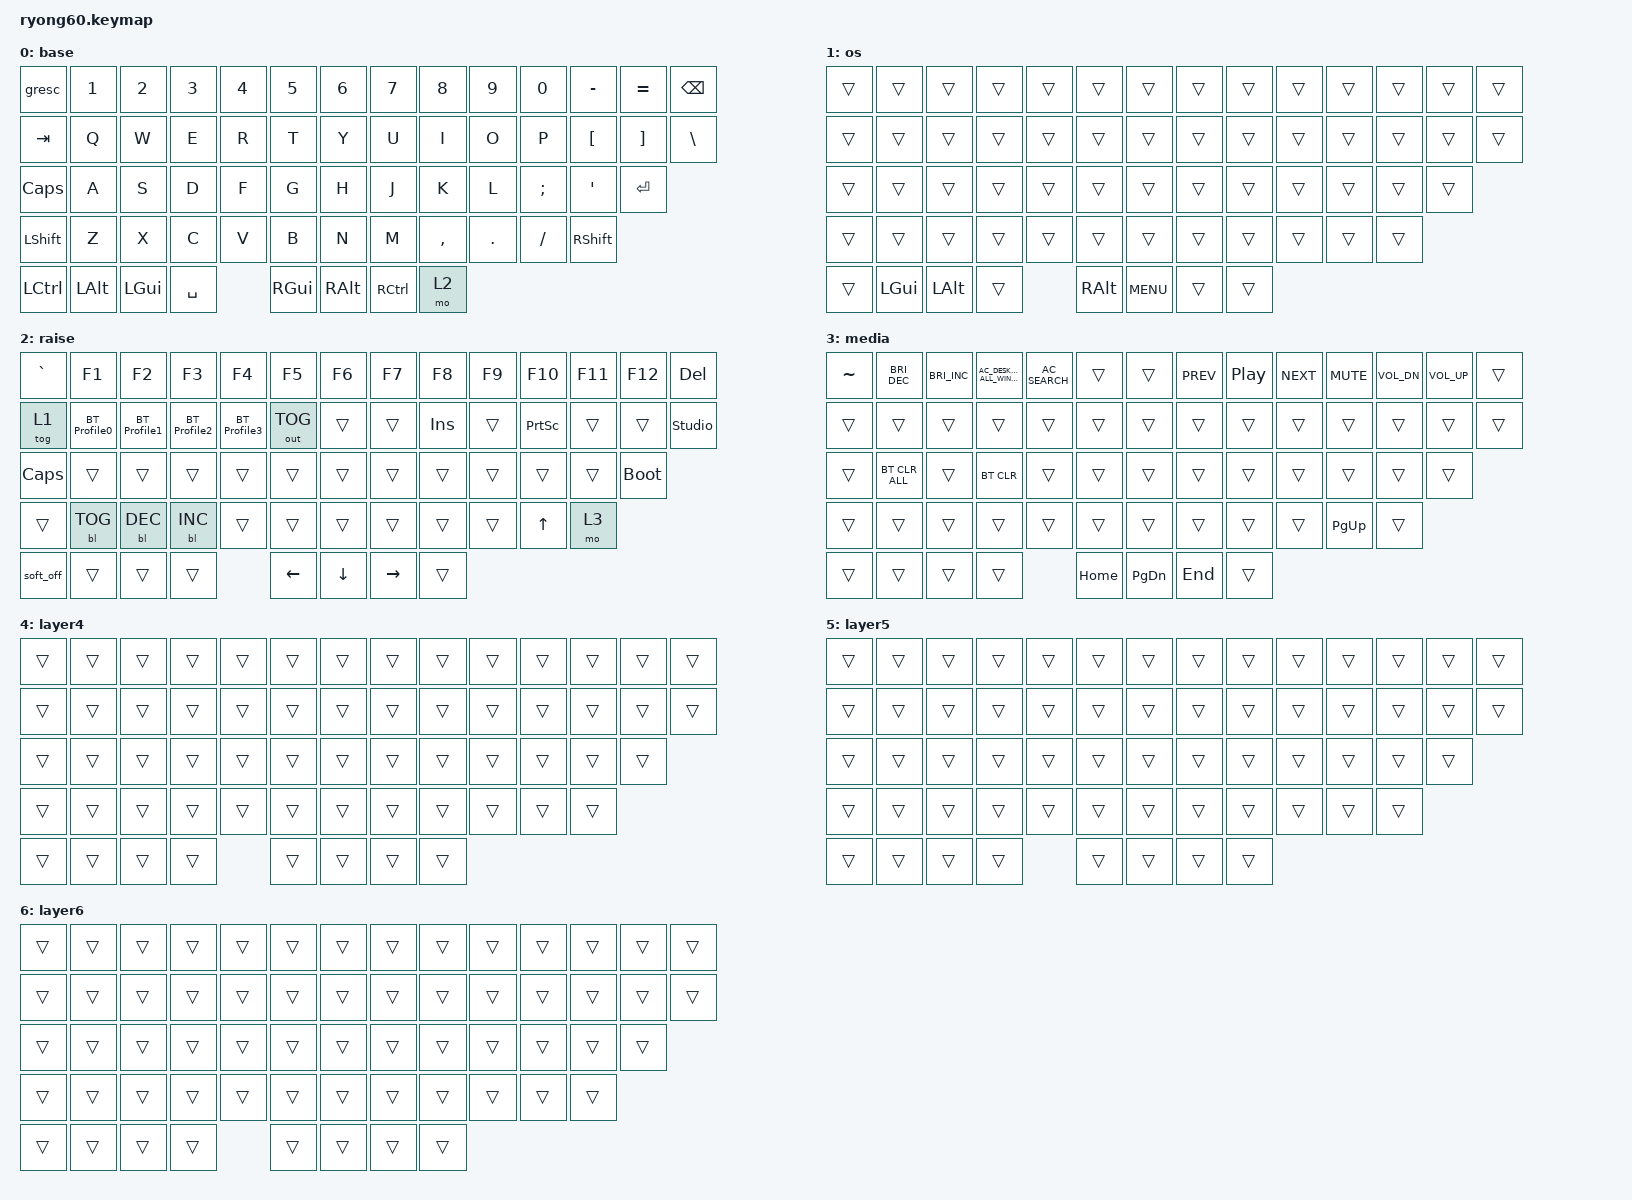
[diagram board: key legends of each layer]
/*
 * Copyright (c) 2021 Nick Winans
 *
 * SPDX-License-Identifier: MIT
 */

#include <behaviors.dtsi>
#include <dt-bindings/zmk/keys.h>
#include <dt-bindings/zmk/rgb.h>
#include <dt-bindings/zmk/bt.h>
#include <dt-bindings/zmk/backlight.h>
#include <dt-bindings/zmk/outputs.h>

#define ZMK_POINTING_DEFAULT_MOVE_VAL 3000  // default: 600
#define ZMK_POINTING_DEFAULT_SCRL_VAL 40    // default: 10

#include <dt-bindings/zmk/pointing.h>
#include "ryong-behaviors.dtsi"

// 전원: Fn + 왼쪽 Ctrl 자리에 ZMK 공식 Soft Off. 3초 누르고 떼면 꺼짐(시간은 ryong-behaviors.json → keys.ryong.com 설정 탭).
//   다시 켤 때 = Fn + Soft Off 가 있는 키 3초 (ryong60_power.c). Fn 만 칩을 깨우므로 Fn 은 꼭 같이 눌러야 함.
//   ZMK Studio 로 Soft Off 를 다른 키에 옮기면 켜는 키도 따라감 (Fn + 그 키).

/*
 * ryong60 키맵 — 사용자의 BT60 V2 설정(hiryong/zmk-config-studio, bt60_v2.keymap)을 그대로 옮김
 *  base  : Mac 배열 (Ctrl · Alt(Option) · GUI(Cmd) · Space · GUI · Alt · Ctrl · Fn)
 *  os    : Fn + Tab 으로 켜고 끔 → Windows 배열 (Ctrl · Win · Alt · Space · Alt · Menu · Ctrl · Fn)
 *  raise : Fn(맨 아래 맨 오른쪽) — Esc 자리 = `, 왼쪽 Ctrl 자리 = Soft Off (3초 누르고 떼면 전원 끄기, 다시 켤 때도 Fn + 왼쪽 Ctrl 3초), Space 자리 = Space, F1~F12, / = ↑, 아래 줄 = ← ↓ →, Z/X/C = 백라이트, Q/W/E/R = 블루투스 1~4,
 *          T = USB/블루투스 전환, Enter = 부트로더, \ = Studio 잠금 해제
 *  media : Fn + 오른쪽 Shift — 미디어·볼륨·밝기, A = 블루투스 전부 지우기, D = 현재 기기 지우기, PgUp/PgDn/Home/End
 */
/ {

  keymap {
    compatible = "zmk,keymap";

    base {
      display-name = "base";
      bindings = <
        &gresc &kp N1 &kp N2 &kp N3 &kp N4 &kp N5 &kp N6 &kp N7 &kp N8 &kp N9 &kp N0 &kp MINUS &kp EQUAL &kp BSPC
        &kp TAB  &kp Q  &kp W  &kp E  &kp R  &kp T  &kp Y  &kp U  &kp I  &kp O  &kp P  &kp LBKT &kp RBKT &kp BSLH
        &kp CAPS &kp A  &kp S  &kp D  &kp F  &kp G  &kp H  &kp J  &kp K  &kp L  &kp SEMI &kp SQT &kp RET
        &kp LSHFT &kp Z  &kp X  &kp C  &kp V  &kp B  &kp N  &kp M  &kp COMMA &kp DOT &kp FSLH &kp RSHFT
        &kp LCTRL &kp LALT &kp LGUI &kp SPACE &kp RGUI &kp RALT &kp RCTRL &mo 2
      >;
    };

    os {
      display-name = "os";
      bindings = <
        &trans &trans &trans &trans &trans &trans &trans &trans &trans &trans &trans &trans &trans &trans
        &trans &trans &trans &trans &trans &trans &trans &trans &trans &trans &trans &trans &trans &trans
        &trans &trans &trans &trans &trans &trans &trans &trans &trans &trans &trans &trans &trans
        &trans &trans &trans &trans &trans &trans &trans &trans &trans &trans &trans &trans
        &trans &kp LGUI &kp LALT &trans &kp RALT &kp C_MENU &trans &trans
      >;
    };

    raise {
      display-name = "raise";
      bindings = <
        &kp GRAVE &kp F1 &kp F2 &kp F3 &kp F4 &kp F5 &kp F6 &kp F7 &kp F8 &kp F9 &kp F10 &kp F11 &kp F12 &kp DEL
        &tog 1 &BT_Profile0 &BT_Profile1 &BT_Profile2 &BT_Profile3 &out OUT_TOG &trans &trans &kp INS &trans &kp PSCRN &trans &trans &studio_unlock
        &kp CAPS &trans &trans &trans &trans &trans &trans &trans &trans &trans &trans &trans &bootloader
        &trans &bl BL_TOG &bl BL_DEC &bl BL_INC &trans &trans &trans &trans &trans &trans &kp UP &mo 3
        &soft_off &trans &trans &trans &kp LEFT &kp DOWN &kp RIGHT &trans
      >;
    };

    media {
      display-name = "media";
      bindings = <
        &kp TILDE &kp C_BRI_DEC &kp C_BRI_INC &kp C_AC_DESKTOP_SHOW_ALL_WINDOWS &kp C_AC_SEARCH &trans &trans &kp C_PREV &kp C_PLAY_PAUSE &kp C_NEXT &kp C_MUTE &kp C_VOL_DN &kp C_VOL_UP &trans
        &trans &trans &trans &trans &trans &trans &trans &trans &trans &trans &trans &trans &trans &trans
        &trans &bt BT_CLR_ALL &trans &bt BT_CLR &trans &trans &trans &trans &trans &trans &trans &trans &trans
        &trans &trans &trans &trans &trans &trans &trans &trans &trans &trans &kp PG_UP &trans
        &trans &trans &trans &trans &kp HOME &kp PG_DN &kp END &trans
      >;
    };

    layer4 {
      display-name = "layer4";
      bindings = <
        &trans &trans &trans &trans &trans &trans &trans &trans &trans &trans &trans &trans &trans &trans
        &trans &trans &trans &trans &trans &trans &trans &trans &trans &trans &trans &trans &trans &trans
        &trans &trans &trans &trans &trans &trans &trans &trans &trans &trans &trans &trans &trans
        &trans &trans &trans &trans &trans &trans &trans &trans &trans &trans &trans &trans
        &trans &trans &trans &trans &trans &trans &trans &trans
      >;
    };

    layer5 {
      display-name = "layer5";
      bindings = <
        &trans &trans &trans &trans &trans &trans &trans &trans &trans &trans &trans &trans &trans &trans
        &trans &trans &trans &trans &trans &trans &trans &trans &trans &trans &trans &trans &trans &trans
        &trans &trans &trans &trans &trans &trans &trans &trans &trans &trans &trans &trans &trans
        &trans &trans &trans &trans &trans &trans &trans &trans &trans &trans &trans &trans
        &trans &trans &trans &trans &trans &trans &trans &trans
      >;
    };

    layer6 {
      display-name = "layer6";
      bindings = <
        &trans &trans &trans &trans &trans &trans &trans &trans &trans &trans &trans &trans &trans &trans
        &trans &trans &trans &trans &trans &trans &trans &trans &trans &trans &trans &trans &trans &trans
        &trans &trans &trans &trans &trans &trans &trans &trans &trans &trans &trans &trans &trans
        &trans &trans &trans &trans &trans &trans &trans &trans &trans &trans &trans &trans
        &trans &trans &trans &trans &trans &trans &trans &trans
      >;
    };
  };
};
